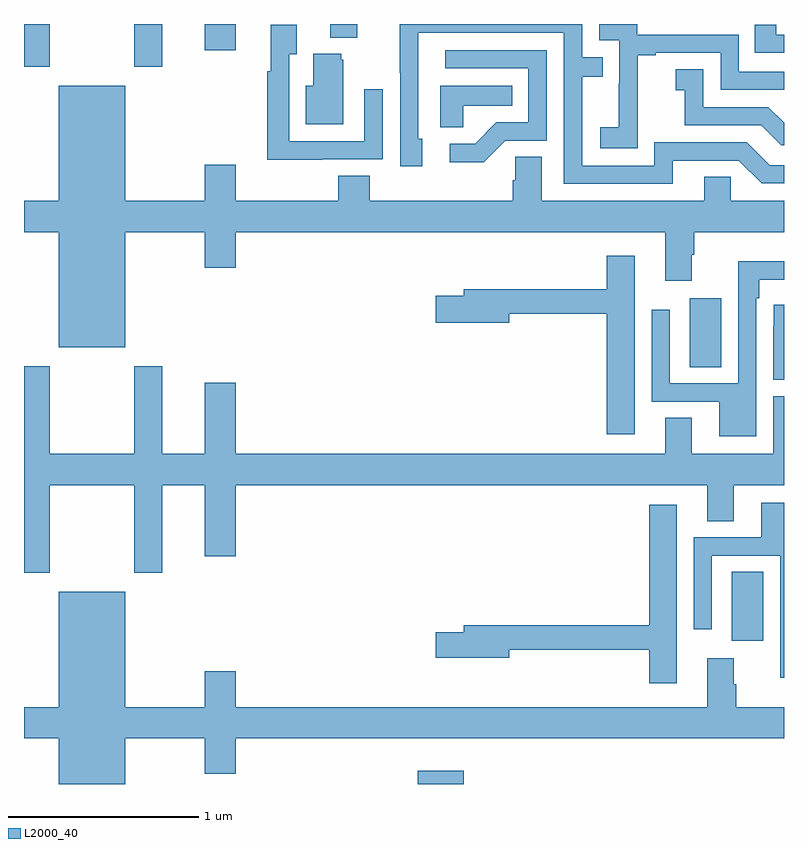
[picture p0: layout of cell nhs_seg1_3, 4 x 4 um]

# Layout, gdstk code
import gdstk
lib = gdstk.Library(unit=1e-6, precision=1e-09)
def R(c, l, rs):  # rectangles x0, y0, x1, y1
    for r in rs: c.add(gdstk.rectangle(r[:2], r[2:], *l))
def P(c, l, *ps):  # polygons
    for p in ps: c.add(gdstk.Polygon(p, *l))
L2000_40 = (2000, 40)

nhs_seg1_3 = lib.new_cell('nhs_seg1_3')
R(nhs_seg1_3, L2000_40, [(113.072,510.199,113.314,510.268), (114.725,510.954,114.892,511.316), (114.503,512.392,114.67,512.755), (111,513.975,111.135,514.199), (111.58,513.975,111.727,514.199), (111.95,514.062,112.114,514.199), (112.613,514.127,112.753,514.199)])
P(nhs_seg1_3, L2000_40, [(114.415,513.48),(114.762,513.48),(114.882,513.36),(115,513.36),(115,513.456),(114.924,513.456),(114.804,513.576),(114.318,513.576),(114.318,513.453),(113.937,513.453),(113.937,513.922),(114.047,513.922),(114.047,514.023),(113.937,514.023),(113.937,514.199),(112.978,514.199),(112.978,513.943),(112.98,513.943),(112.98,513.45),(113.095,513.45),(113.095,513.594),(113.076,513.594),(113.076,514.152),(113.841,514.152),(113.841,513.357),(114.415,513.357)],
  [(114.231,513.751),(114.23,513.751),(114.23,514.035),(114.325,514.035),(114.325,514.047),(114.666,514.047),(114.666,513.852),(115,513.852),(115,513.948),(114.762,513.948),(114.762,514.143),(114.228,514.143),(114.228,514.199),(114.027,514.199),(114.027,514.113),(114.132,514.113),(114.132,513.884),(114.131,513.884),(114.131,513.655),(114.033,513.655),(114.033,513.545),(114.231,513.545)],
  [(115,514.143),(114.958,514.143),(114.958,514.195),(114.847,514.195),(114.847,514.047),(115,514.047)],
  [(112.571,513.486),(112.887,513.486),(112.887,513.856),(112.791,513.856),(112.791,513.582),(112.395,513.582),(112.395,514.039),(112.435,514.039),(112.435,514.195),(112.298,514.195),(112.298,513.95),(112.279,513.95),(112.279,513.485),(112.571,513.485)],
  [(113.532,513.585),(113.751,513.585),(113.751,514.062),(113.217,514.062),(113.217,513.966),(113.655,513.966),(113.655,513.681),(113.486,513.681),(113.375,513.57),(113.241,513.57),(113.241,513.472),(113.419,513.472)],
  [(112.681,514.011),(112.67,514.011),(112.67,514.042),(112.523,514.042),(112.523,513.874),(112.484,513.874),(112.484,513.671),(112.681,513.671)],
  [(115,513.68),(114.918,513.762),(114.576,513.762),(114.576,513.961),(114.429,513.961),(114.429,513.851),(114.478,513.851),(114.478,513.666),(114.881,513.666),(114.986,513.561),(115,513.561)],
  [(113.313,513.77),(113.57,513.77),(113.57,513.874),(113.192,513.874),(113.192,513.655),(113.313,513.655)],
  [(111.532,513.104),(111.95,513.104),(111.95,512.916),(112.114,512.916),(112.114,513.104),(114.374,513.104),(114.374,512.847),(114.514,512.847),(114.514,512.984),(114.527,512.984),(114.527,513.104),(115,513.104),(115,513.268),(114.72,513.268),(114.72,513.395),(114.581,513.395),(114.581,513.268),(113.725,513.268),(113.725,513.5),(113.586,513.5),(113.586,513.377),(113.573,513.377),(113.573,513.268),(112.82,513.268),(112.82,513.401),(112.655,513.401),(112.655,513.268),(112.114,513.268),(112.114,513.457),(111.95,513.457),(111.95,513.268),(111.532,513.268),(111.532,513.874),(111.182,513.874),(111.182,513.268),(111,513.268),(111,513.104),(111.182,513.104),(111.182,512.498),(111.532,512.498)],
  [(114.214,512.98),(114.068,512.98),(114.068,512.803),(113.315,512.803),(113.315,512.769),(113.166,512.769),(113.166,512.627),(113.554,512.627),(113.554,512.674),(114.068,512.674),(114.068,512.04),(114.214,512.04)],
  [(114.855,512.756),(114.871,512.756),(114.871,512.852),(115,512.852),(115,512.95),(114.759,512.95),(114.759,512.307),(114.399,512.307),(114.399,512.695),(114.303,512.695),(114.303,512.211),(114.659,512.211),(114.659,512.03),(114.855,512.03)],
  [(115,512.722),(114.945,512.722),(114.945,512.609),(114.944,512.609),(114.944,512.326),(115,512.326)],
  [(111.135,511.772),(111.58,511.772),(111.58,511.311),(111.727,511.311),(111.727,511.772),(111.95,511.772),(111.95,511.398),(112.114,511.398),(112.114,511.772),(114.596,511.772),(114.596,511.582),(114.736,511.582),(114.736,511.772),(115,511.772),(115,512.241),(114.944,512.241),(114.944,511.936),(114.514,511.936),(114.514,512.126),(114.374,512.126),(114.374,511.936),(112.114,511.936),(112.114,512.311),(111.95,512.311),(111.95,511.936),(111.727,511.936),(111.727,512.398),(111.58,512.398),(111.58,511.936),(111.135,511.936),(111.135,512.398),(111,512.398),(111,511.311),(111.135,511.311)],
  [(115,511.678),(114.881,511.678),(114.881,511.497),(114.525,511.497),(114.525,511.014),(114.621,511.014),(114.621,511.401),(114.981,511.401),(114.981,510.758),(115,510.758)],
  [(114.436,511.669),(114.29,511.669),(114.29,511.034),(113.315,511.034),(113.315,510.998),(113.166,510.998),(113.166,510.863),(113.554,510.863),(113.554,510.906),(114.29,510.906),(114.29,510.729),(114.436,510.729)],
  [(111.532,510.44),(111.95,510.44),(111.95,510.252),(112.114,510.252),(112.114,510.44),(115,510.44),(115,510.604),(114.749,510.604),(114.749,510.725),(114.736,510.725),(114.736,510.862),(114.596,510.862),(114.596,510.604),(112.114,510.604),(112.114,510.793),(111.95,510.793),(111.95,510.604),(111.532,510.604),(111.532,511.21),(111.182,511.21),(111.182,510.604),(111,510.604),(111,510.44),(111.182,510.44),(111.182,510.199),(111.532,510.199)])

lib.write_gds('nhs_seg1_3.gds')
